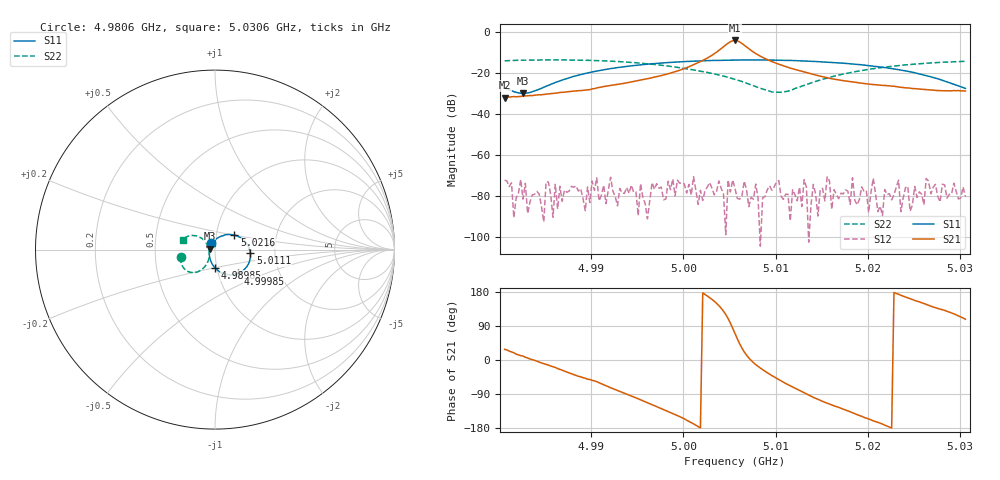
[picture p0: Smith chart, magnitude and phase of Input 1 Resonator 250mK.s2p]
!Agilent Technologies,N5230A,MY45001652,A.07.50.57
!Agilent N5230A: A.07.50.57
!Date: Monday, September 28, 2015 11:05:18
!Correction: S11(Full 2 Port(1,2))
!S21(Full 2 Port(1,2))
!S12(Full 2 Port(1,2))
!S22(Full 2 Port(1,2))
!S2P File: Measurements: S11, S21, S12, S22:
# Hz S  dB  R 50
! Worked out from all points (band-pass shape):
!   201 points, 4.9806 GHz to 5.0306 GHz, reference 50 ohm
!   highest |S21| = -4.35 dB at 5.0056 GHz (marker M1); lowest = -32.2 dB at 4.9806 GHz (marker M2)
!   |S21| within 3 dB of the highest: 5.004371 GHz to 5.006805 GHz (2.434 MHz wide, 0.0486 % of centre)
!   lowest |S11| = -30.1 dB at 4.9826 GHz (marker M3), VSWR 1.06, Z = 47 + j0.552 ohm
!   |S11| at or under -10 dB: start of sweep to end of sweep
!   |S22| runs from -29.6 to -13.8 dB; largest |S21 - S12| = 0.61
!   S11 on the Smith chart (normalised r, x): 4.9806 GHz: 0.96, +0.07; 4.98985 GHz: 0.98, -0.20; 4.99985 GHz: 1.24, -0.34; 5.0111 GHz: 1.49, -0.06; 5.0216 GHz: 1.22, +0.20; 5.0306 GHz: 0.96, +0.07
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4.9806e9  -27.46 119.8  -32.17 28.1  -72.46 97.8  -14.26 -167.1
4.9826e9  -30.15 169.1  -31.50 10.3  -81.73 7.4  -13.96 -162.3
4.9891e9  -20.72 -95.3  -28.70 -46.6  -81.24 80.6  -13.96 -146.4
4.98985e9  -19.95 -90.7  -28.32 -51.3  -83.36 147.6  -14.06 -144.6
4.9906e9  -19.25 -86.6  -27.50 -57.2  -71.33 96.6  -14.16 -142.6
4.99085e9  -19.07 -85.2  -27.26 -60.1  -82.50 67.5  -14.20 -141.9
4.9921e9  -18.09 -79.0  -26.27 -73.2  -71.03 -178.8  -14.43 -138.9
4.9926e9  -17.75 -76.5  -25.93 -77.7  -80.37 -61.8  -14.55 -137.8
4.99735e9  -15.44 -56.0  -21.69 -125.7  -76.38 32.5  -16.30 -127.0
4.99985e9  -14.71 -46.2  -18.48 -152.3  -73.72 77.6  -17.80 -122.8
5.00435e9  -13.98 -30.3  -7.43 128.9  -79.21 26.2  -21.75 -120.1
5.0056e9  -13.89 -25.8  -4.35 70.1  -76.57 154.3  -23.32 -121.6
5.0111e9  -14.05 -5.9  -17.11 -62.0  -79.29 -106.3  -29.25 173.7
5.0141e9  -14.56 5.2  -20.94 -98.6  -74.53 179.9  -24.72 143.6
5.01835e9  -15.82 22.3  -24.54 -139.3  -71.25 77.2  -19.80 139.9
5.0201e9  -16.58 29.9  -25.58 -155.5  -88.22 150.7  -18.44 142.0
5.0206e9  -16.85 32.2  -25.83 -160.5  -71.54 26.6  -18.11 142.7
5.0216e9  -17.42 37.0  -26.25 -169.2  -89.73 -153.4  -17.51 144.5
5.02235e9  -17.88 40.6  -26.48 -177.0  -79.02 142.0  -17.11 145.9
5.0261e9  -21.22 62.1  -28.22 149.1  -84.51 37.4  -15.53 153.6
5.02635e9  -21.49 64.0  -28.33 146.6  -71.63 -145.1  -15.46 154.1
5.0306e9  -27.74 115.0  -29.01 107.7  -80.61 -171.3  -14.52 163.7
